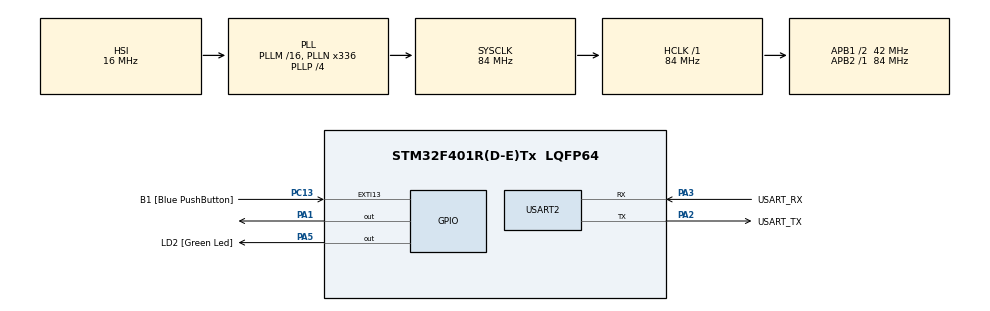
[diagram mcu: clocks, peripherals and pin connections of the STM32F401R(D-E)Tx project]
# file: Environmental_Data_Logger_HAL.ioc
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Mcu.Family=STM32F4
Mcu.Name=STM32F401R(D-E)Tx
Mcu.Package=LQFP64
NVIC.PriorityGroup=NVIC_PRIORITYGROUP_4
PA1.GPIO_ModeDefaultOutputPP=GPIO_MODE_OUTPUT_PP
PA1.GPIO_PuPd=GPIO_PULLUP
PA1.PinState=GPIO_PIN_SET
PA1.Signal=GPIO_Output
PA13.GPIO_Label=TMS
PA13.Mode=Trace_Asynchronous_SW
PA13.Signal=SYS_JTMS-SWDIO
PA14.GPIO_Label=TCK
PA14.Mode=Trace_Asynchronous_SW
PA14.Signal=SYS_JTCK-SWCLK
PA2.GPIO_Label=USART_TX
PA2.GPIO_Mode=GPIO_MODE_AF_PP
PA2.GPIO_PuPd=GPIO_NOPULL
PA2.GPIO_Speed=GPIO_SPEED_FREQ_LOW
PA2.Mode=Asynchronous
PA2.Signal=USART2_TX
PA3.GPIO_Label=USART_RX
PA3.GPIO_Mode=GPIO_MODE_AF_PP
PA3.GPIO_PuPd=GPIO_NOPULL
PA3.GPIO_Speed=GPIO_SPEED_FREQ_LOW
PA3.Mode=Asynchronous
PA3.Signal=USART2_RX
PA5.GPIO_Label=LD2 [Green Led]
PA5.GPIO_Mode=GPIO_MODE_OUTPUT_PP
PA5.GPIO_PuPd=GPIO_NOPULL
PA5.GPIO_Speed=GPIO_SPEED_FREQ_LOW
PA5.Signal=GPIO_Output
PB3.GPIO_Label=SWO
PB3.Mode=Trace_Asynchronous_SW
PB3.Signal=SYS_JTDO-SWO
PC13-ANTI_TAMP.GPIO_Label=B1 [Blue PushButton]
PC13-ANTI_TAMP.GPIO_ModeDefaultEXTI=GPIO_MODE_IT_FALLING
PC13-ANTI_TAMP.GPIO_PuPd=GPIO_NOPULL
PC13-ANTI_TAMP.Signal=GPXTI13
PC14-OSC32_IN.Mode=LSE-External-Oscillator
PC14-OSC32_IN.Signal=RCC_OSC32_IN
PC15-OSC32_OUT.Mode=LSE-External-Oscillator
PC15-OSC32_OUT.Signal=RCC_OSC32_OUT
PH0\ -\ OSC_IN.Mode=HSE-External-Clock-Source
PH0\ -\ OSC_IN.Signal=RCC_OSC_IN
PH1\ -\ OSC_OUT.Mode=HSE-External-Clock-Source
PH1\ -\ OSC_OUT.Signal=RCC_OSC_OUT
ProjectManager.HeapSize=0x200
ProjectManager.StackSize=0x400
ProjectManager.TargetToolchain=STM32CubeIDE
RCC.48MHZClocksFreq_Value=48000000
RCC.AHBFreq_Value=84000000
RCC.APB1CLKDivider=RCC_HCLK_DIV2
RCC.APB1Freq_Value=42000000
RCC.APB1TimFreq_Value=84000000
RCC.APB2Freq_Value=84000000
RCC.APB2TimFreq_Value=84000000
RCC.CortexFreq_Value=84000000
RCC.HCLKFreq_Value=84000000
RCC.HSE_VALUE=8000000
RCC.HSI_VALUE=16000000
RCC.PLLN=336
RCC.PLLP=RCC_PLLP_DIV4
RCC.PLLQ=7
RCC.SYSCLKFreq_VALUE=84000000
RCC.SYSCLKSource=RCC_SYSCLKSOURCE_PLLCLK
RCC.VCOOutputFreq_Value=336000000
TIM2.AutoReloadPreload=TIM_AUTORELOAD_PRELOAD_DISABLE
TIM2.Period=0xFFFF - 1
TIM2.Prescaler=42 - 1
USART2.VirtualMode=VM_ASYNC
VP_TIM2_VS_ClockSourceINT.Mode=Internal
board=NUCLEO-F401RE

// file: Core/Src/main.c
/* USER CODE BEGIN Header */
/**
  ******************************************************************************
  * @file           : main.c
  * @brief          : Main program body
  ******************************************************************************
  * @attention
  *
  * Copyright (c) 2026 STMicroelectronics.
  * All rights reserved.
  *
  * This software is licensed under terms that can be found in the LICENSE file
  * in the root directory of this software component.
  * If no LICENSE file comes with this software, it is provided AS-IS.
  *
  ******************************************************************************
  */
/* USER CODE END Header */
#include <stdio.h>
#include <string.h>
#include "main.h"

TIM_HandleTypeDef htim2;

UART_HandleTypeDef huart2;

/* USER CODE BEGIN PV */
uint8_t data[5];
/* USER CODE END PV */

void SystemClock_Config(void);
static void MX_GPIO_Init(void);
static void MX_USART2_UART_Init(void);
static void MX_TIM2_Init(void);

/* USER CODE BEGIN 0 */
void delay_us(uint16_t us) {
	__HAL_TIM_SET_COUNTER(&htim2, 0);
	while (__HAL_TIM_GET_COUNTER(&htim2) < us);
}

void send_start_signal(GPIO_TypeDef *port, uint16_t pin) {
    GPIO_InitTypeDef GPIO_InitStruct = {0};

    GPIO_InitStruct.Pin = pin;
    GPIO_InitStruct.Mode = GPIO_MODE_OUTPUT_PP;
    GPIO_InitStruct.Pull = GPIO_NOPULL;
    HAL_GPIO_Init(port, &GPIO_InitStruct);

    HAL_GPIO_WritePin(port, pin, GPIO_PIN_RESET);
    HAL_Delay(18);

    HAL_GPIO_WritePin(port, pin, GPIO_PIN_SET);
    delay_us(40);

    GPIO_InitStruct.Mode = GPIO_MODE_INPUT;
    GPIO_InitStruct.Pull = GPIO_PULLUP;
    HAL_GPIO_Init(port, &GPIO_InitStruct);
}

int read_raw_data(GPIO_TypeDef *port, uint16_t pin) {
	uint32_t timeout = 0;
	timeout = 0;
	while (HAL_GPIO_ReadPin(port, pin) && timeout < 1000) timeout++;
	if (timeout >= 1000) return -1;

	// 2. Wait for sensor to pull HIGH (Response Middle - 80us)
	timeout = 0;
	while (!HAL_GPIO_ReadPin(port, pin) && timeout < 1000) timeout++;
	if (timeout >= 1000) return -1;

	// 3. Wait for sensor to pull LOW (Response End/Data Start - 50us)
	timeout = 0;
	while (HAL_GPIO_ReadPin(port, pin) && timeout < 1000) timeout++;
	if (timeout >= 1000) return -1;

	for (int i = 0; i < 5; i++) {
		data[i] = 0;
		for (int j = 0; j < 8; j++) {
			// Wait for line to go HIGH (start of the actual bit)
			timeout = 0;
			while (!HAL_GPIO_ReadPin(port, pin) && timeout < 1000) timeout++;

			delay_us(40); // Pulse is 26-28us for '0', 70us for '1'

			if (HAL_GPIO_ReadPin(port, pin)) {
				data[i] |= (1 << (7 - j));
				// Wait for the rest of the '1' pulse to finish
				timeout = 0;
				while (HAL_GPIO_ReadPin(port, pin) && timeout < 1000) timeout++;
			}
		}
	}

	if (data[4] == ((data[0] + data[1] + data[2] + data[3]) & 0xFF)) return 0;

	return -1;
}
/* USER CODE END 0 */

int main(void)
{

  /* MCU Configuration--------------------------------------------------------*/

  /* Reset of all peripherals, Initializes the Flash interface and the Systick. */
  HAL_Init();

  /* Configure the system clock */
  SystemClock_Config();

  /* Initialize all configured peripherals */
  MX_GPIO_Init();
  MX_USART2_UART_Init();
  MX_TIM2_Init();
  /* USER CODE BEGIN 2 */
  HAL_TIM_Base_Start(&htim2);
  char msg[200];
  /* USER CODE END 2 */

  /* Infinite loop */
  while (1)
  {
	  send_start_signal(GPIOA,GPIO_PIN_1);
	  if (read_raw_data(GPIOA, GPIO_PIN_1) == 0) {
		  uint8_t humidity = data[0];
		  uint8_t temperature = data[2];

		  sprintf(msg, "Temperature: %d | Humidity: %d\n", (int)temperature, (int)humidity);
		  HAL_UART_Transmit(&huart2, (uint8_t *)msg, strlen(msg), HAL_MAX_DELAY);
	  } else {
		  char *err = "Sensor Error\r\n";
		  HAL_UART_Transmit(&huart2, (uint8_t *)err, strlen(err), HAL_MAX_DELAY);
	  }

	  HAL_Delay(2000);
  }
}

void SystemClock_Config(void)
{
  RCC_OscInitTypeDef RCC_OscInitStruct = {0};
  RCC_ClkInitTypeDef RCC_ClkInitStruct = {0};

  /** Configure the main internal regulator output voltage
  */
  __HAL_RCC_PWR_CLK_ENABLE();
  __HAL_PWR_VOLTAGESCALING_CONFIG(PWR_REGULATOR_VOLTAGE_SCALE2);

  /** Initializes the RCC Oscillators according to the specified parameters
  * in the RCC_OscInitTypeDef structure.
  */
  RCC_OscInitStruct.OscillatorType = RCC_OSCILLATORTYPE_HSI;
  RCC_OscInitStruct.HSIState = RCC_HSI_ON;
  RCC_OscInitStruct.HSICalibrationValue = RCC_HSICALIBRATION_DEFAULT;
  RCC_OscInitStruct.PLL.PLLState = RCC_PLL_ON;
  RCC_OscInitStruct.PLL.PLLSource = RCC_PLLSOURCE_HSI;
  RCC_OscInitStruct.PLL.PLLM = 16;
  RCC_OscInitStruct.PLL.PLLN = 336;
  RCC_OscInitStruct.PLL.PLLP = RCC_PLLP_DIV4;
  RCC_OscInitStruct.PLL.PLLQ = 7;
  if (HAL_RCC_OscConfig(&RCC_OscInitStruct) != HAL_OK)
  {
    Error_Handler();
  }

  /** Initializes the CPU, AHB and APB buses clocks
  */
  RCC_ClkInitStruct.ClockType = RCC_CLOCKTYPE_HCLK|RCC_CLOCKTYPE_SYSCLK
                              |RCC_CLOCKTYPE_PCLK1|RCC_CLOCKTYPE_PCLK2;
  RCC_ClkInitStruct.SYSCLKSource = RCC_SYSCLKSOURCE_PLLCLK;
  RCC_ClkInitStruct.AHBCLKDivider = RCC_SYSCLK_DIV1;
  RCC_ClkInitStruct.APB1CLKDivider = RCC_HCLK_DIV2;
  RCC_ClkInitStruct.APB2CLKDivider = RCC_HCLK_DIV1;

  if (HAL_RCC_ClockConfig(&RCC_ClkInitStruct, FLASH_LATENCY_2) != HAL_OK)
  {
    Error_Handler();
  }
}

static void MX_TIM2_Init(void)
{

  TIM_ClockConfigTypeDef sClockSourceConfig = {0};
  TIM_MasterConfigTypeDef sMasterConfig = {0};

  htim2.Instance = TIM2;
  htim2.Init.Prescaler = 84 - 1;
  htim2.Init.CounterMode = TIM_COUNTERMODE_UP;
  htim2.Init.Period = 0xFFFF - 1;
  htim2.Init.ClockDivision = TIM_CLOCKDIVISION_DIV1;
  htim2.Init.AutoReloadPreload = TIM_AUTORELOAD_PRELOAD_DISABLE;
  if (HAL_TIM_Base_Init(&htim2) != HAL_OK)
  {
    Error_Handler();
  }
  sClockSourceConfig.ClockSource = TIM_CLOCKSOURCE_INTERNAL;
  if (HAL_TIM_ConfigClockSource(&htim2, &sClockSourceConfig) != HAL_OK)
  {
    Error_Handler();
  }
  sMasterConfig.MasterOutputTrigger = TIM_TRGO_RESET;
  sMasterConfig.MasterSlaveMode = TIM_MASTERSLAVEMODE_DISABLE;
  if (HAL_TIMEx_MasterConfigSynchronization(&htim2, &sMasterConfig) != HAL_OK)
  {
    Error_Handler();
  }

}

static void MX_USART2_UART_Init(void)
{

  huart2.Instance = USART2;
  huart2.Init.BaudRate = 115200;
  huart2.Init.WordLength = UART_WORDLENGTH_8B;
  huart2.Init.StopBits = UART_STOPBITS_1;
  huart2.Init.Parity = UART_PARITY_NONE;
  huart2.Init.Mode = UART_MODE_TX_RX;
  huart2.Init.HwFlowCtl = UART_HWCONTROL_NONE;
  huart2.Init.OverSampling = UART_OVERSAMPLING_16;
  if (HAL_UART_Init(&huart2) != HAL_OK)
  {
    Error_Handler();
  }

}

static void MX_GPIO_Init(void)
{
  GPIO_InitTypeDef GPIO_InitStruct = {0};

  /* GPIO Ports Clock Enable */
  __HAL_RCC_GPIOC_CLK_ENABLE();
  __HAL_RCC_GPIOH_CLK_ENABLE();
  __HAL_RCC_GPIOA_CLK_ENABLE();
  __HAL_RCC_GPIOB_CLK_ENABLE();

  /*Configure GPIO pin Output Level */
  HAL_GPIO_WritePin(GPIOA, GPIO_PIN_1, GPIO_PIN_SET);

  /*Configure GPIO pin Output Level */
  HAL_GPIO_WritePin(LD2_GPIO_Port, LD2_Pin, GPIO_PIN_RESET);

  /*Configure GPIO pin : B1_Pin */
  GPIO_InitStruct.Pin = B1_Pin;
  GPIO_InitStruct.Mode = GPIO_MODE_IT_FALLING;
  GPIO_InitStruct.Pull = GPIO_NOPULL;
  HAL_GPIO_Init(B1_GPIO_Port, &GPIO_InitStruct);

  /*Configure GPIO pin : PA1 */
  GPIO_InitStruct.Pin = GPIO_PIN_1;
  GPIO_InitStruct.Mode = GPIO_MODE_OUTPUT_PP;
  GPIO_InitStruct.Pull = GPIO_PULLUP;
  GPIO_InitStruct.Speed = GPIO_SPEED_FREQ_LOW;
  HAL_GPIO_Init(GPIOA, &GPIO_InitStruct);

  /*Configure GPIO pin : LD2_Pin */
  GPIO_InitStruct.Pin = LD2_Pin;
  GPIO_InitStruct.Mode = GPIO_MODE_OUTPUT_PP;
  GPIO_InitStruct.Pull = GPIO_NOPULL;
  GPIO_InitStruct.Speed = GPIO_SPEED_FREQ_LOW;
  HAL_GPIO_Init(LD2_GPIO_Port, &GPIO_InitStruct);

}

void Error_Handler(void)
{
  __disable_irq();
  while (1)
  {
  }
}
